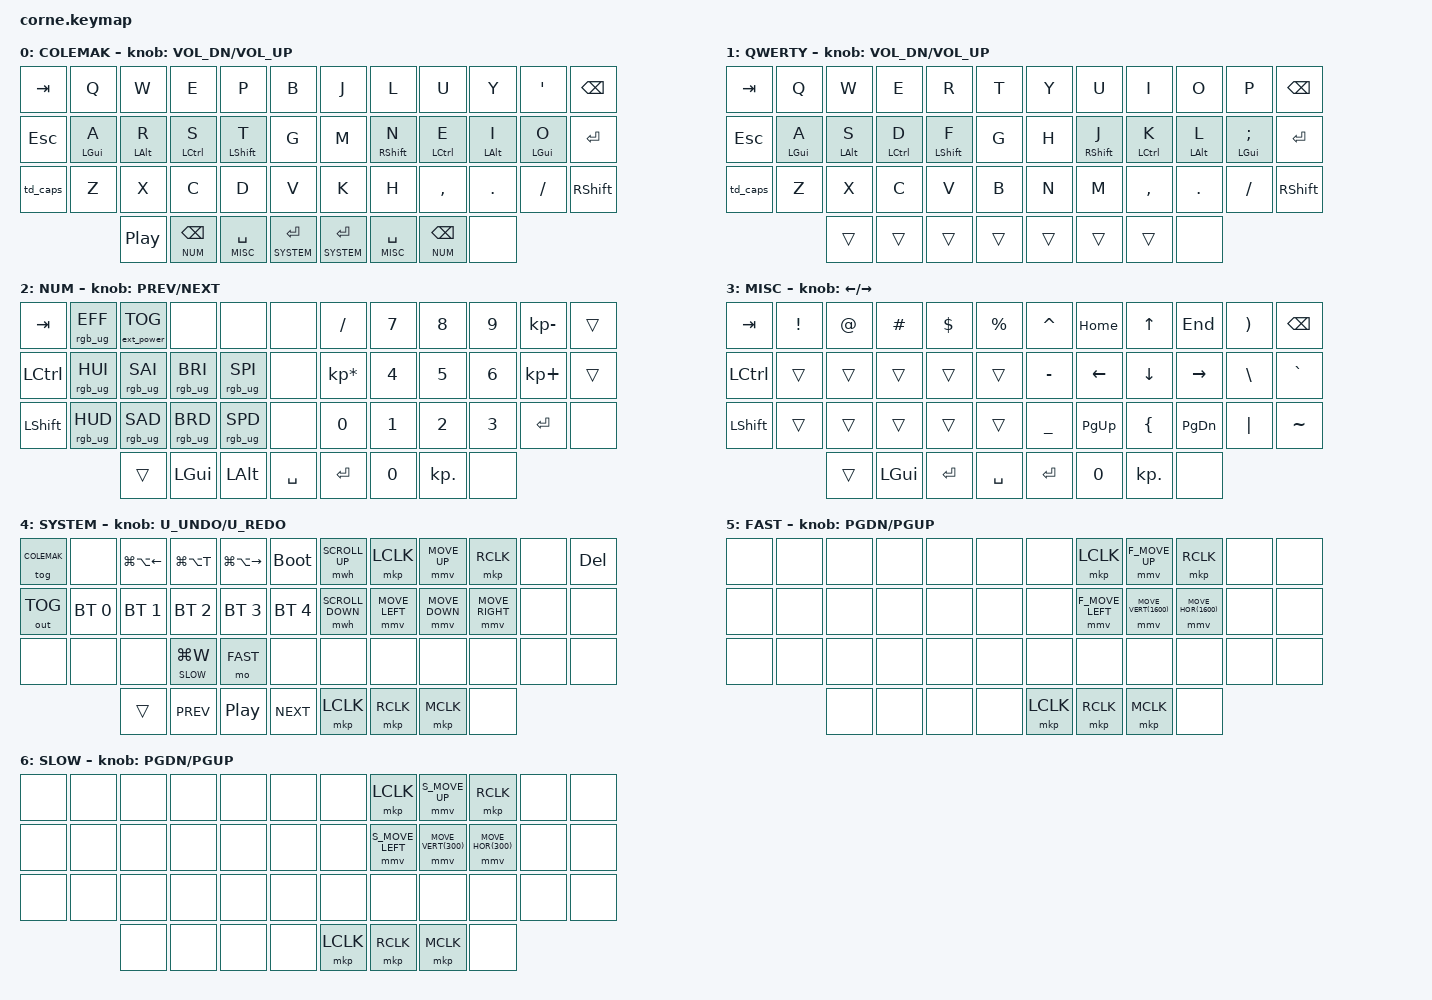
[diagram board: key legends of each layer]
/*
 * Copyright (c) 2020 The ZMK Contributors
 *
 * SPDX-License-Identifier: MIT
 */

#include <behaviors.dtsi>
#include <dt-bindings/zmk/keys.h>
#include <dt-bindings/zmk/bt.h>
#include <dt-bindings/led/led.h>
#include <dt-bindings/zmk/rgb.h>
#include <dt-bindings/zmk/ext_power.h>
#include <dt-bindings/zmk/outputs.h>
#include <dt-bindings/zmk/matrix_transform.h>
#include <dt-bindings/zmk/mouse.h>
// #include <dt-bindings/zmk/backlight.h>

#define QWERTY   0
#define COLEMAK  1
#define NUM      2
#define MISC     3
#define SYSTEM   4
#define FAST     5
#define SLOW     6

/*
 * Temporarily here because nice nano v2 spi is not defined on ZMk Yet
 * Source: https://github.com/zmkfirmware/zmk/blob/main/app/boards/shields/reviung41/boards/nice_nano.overlay
 * GitHub Issue: https://github.com/zmkfirmware/zmk/issues/885
 */

&spi1 {
    compatible = "nordic,nrf-spim";
    status = "okay";
    mosi-pin = <6>;
    // Unused pins, needed for SPI definition, but not used by the ws2812 driver itself.
    sck-pin = <5>;
    miso-pin = <7>;

    led_strip: ws2812@0 {
        compatible = "worldsemi,ws2812-spi";
        label = "WS2812";

        /* SPI */
        reg = <0>; /* ignored, but necessary for SPI bindings */
        spi-max-frequency = <4000000>;

        /* WS2812 */
        chain-length = <27>; /* arbitrary; change at will */
        spi-one-frame = <0x70>;
        spi-zero-frame = <0x40>;
        color-mapping = <LED_COLOR_ID_GREEN LED_COLOR_ID_RED LED_COLOR_ID_BLUE>;
    };
};

/ {
    chosen {
        zmk,underglow = &led_strip;
        zmk,matrix_transform = &default_transform;
    };

    default_transform: keymap_transform_0 {
        compatible = "zmk,matrix-transform";
        columns = <12>;
        rows = <4>;
        // | SW1  | SW2  | SW3  | SW4  | SW5  | SW6  |   | SW6  | SW5  | SW4  | SW3  | SW2  | SW1  |
        // | SW7  | SW8  | SW9  | SW10 | SW11 | SW12 |   | SW12 | SW11 | SW10 | SW9  | SW8  | SW7  |
        // | SW13 | SW14 | SW15 | SW16 | SW17 | SW18 |   | SW18 | SW17 | SW16 | SW15 | SW14 | SW13 |
        //                 SW19 | SW20 | SW21 | SW22 |   | SW21 | SW20 | SW19 | SW20
        map = <
            RC(0,0) RC(0,1) RC(0,2) RC(0,3) RC(0,4) RC(0,5)  RC(0,6) RC(0,7) RC(0,8) RC(0,9) RC(0,10) RC(0,11)
            RC(1,0) RC(1,1) RC(1,2) RC(1,3) RC(1,4) RC(1,5)  RC(1,6) RC(1,7) RC(1,8) RC(1,9) RC(1,10) RC(1,11)
            RC(2,0) RC(2,1) RC(2,2) RC(2,3) RC(2,4) RC(2,5)  RC(2,6) RC(2,7) RC(2,8) RC(2,9) RC(2,10) RC(2,11)
                            RC(3,2) RC(3,3) RC(3,4) RC(3,5)  RC(3,6) RC(3,7) RC(3,8) RC(3,9)
        >;
    };

    left_encoder: encoder_left {
        compatible = "alps,ec11";
        label = "LEFT_ENCODER";
        a-gpios = <&pro_micro_d  16 (GPIO_ACTIVE_HIGH | GPIO_PULL_UP)>;
        b-gpios = <&pro_micro_d 10 (GPIO_ACTIVE_HIGH | GPIO_PULL_UP)>;
        resolution = <4>;
        };

        sensors {
            compatible = "zmk,keymap-sensors";
            sensors = <&left_encoder>;
    };
};

&left_encoder {
    status = "okay";
};

/*
 * Temporarily here because nice nano v2 spi is not defined on ZMk YET
 */


&caps_word {
    continue-list = <UNDERSCORE MINUS>;
};


&lt {
    quick_tap_ms = <200>;
};


// Mouse key configs
&mmv {
    time-to-max-speed-ms = <50>;
};

&mwh {
    acceleration-exponent=<1>;
};

// MACROS
#define U_UNDO    LG(Z)
#define U_CUT     LG(X)
#define U_COPY    LG(C)
#define U_PSTE    LG(V)
#define U_REDO    LS(LG(Z))
#define U_CLIP    LC(LG(C))
#define U_SHOT    LS(LG(N4))
#define U_ALFRED  LG(SPACE)

#define PREV_TAB  LG(LA(LEFT))
#define NEW_TAB   LG(LA(T))
#define NEXT_TAB  LG(LA(RIGHT))
#define CLOSE_TAB LG(W)

/* Mouse move behavior */
#define MOVE_VERT(vert) ((vert)&0xFFFF)
#define MOVE_VERT_DECODE(encoded) (int16_t)((encoded)&0x0000FFFF)
#define MOVE_HOR(hor) (((hor)&0xFFFF) << 16)
#define MOVE_HOR_DECODE(encoded) (int16_t)(((encoded)&0xFFFF0000) >> 16)

#define MOVE(hor, vert) (MOVE_HOR(hor) + MOVE_VERT(vert))

#define F_MOVE_UP MOVE_VERT(-1600)
#define F_MOVE_DOWN MOVE_VERT(1600)
#define F_MOVE_LEFT MOVE_HOR(-1600)
#define F_MOVE_RIGHT MOVE_HOR(1600)

#define S_MOVE_UP MOVE_VERT(-300)
#define S_MOVE_DOWN MOVE_VERT(300)
#define S_MOVE_LEFT MOVE_HOR(-300)
#define S_MOVE_RIGHT MOVE_HOR(300)




// CONFIGURATION
#define COMBO(NAME, KEYPOS) \
    combo_##NAME { \
        layers = <0 1 2>; \
        timeout-ms = <40>; \
        key-positions = <KEYPOS>; \
        bindings = <&kp NAME>; \
    };

/ {
    combos {
        compatible = "zmk,combos";

        // special combo for capital words
        combo_caps { \
            timeout-ms = <40>; \
            key-positions = <24 35>; \
            bindings = <&caps_word>; \
        };

        //  ------------------------------------------------------------------------------------------
        //  |   0  |   1  |   2  |   3  |   4  |   5  |    |   6  |   7  |   8  |   9  |  10  |  11  |
        //  |  12  |  13  |  14  |  15  |  16  |  17  |    |  18  |  19  |  20  |  21  |  22  |  23  |
        //  |  24  |  25  |  26  |  27  |  28  |  29  |    |  30  |  31  |  32  |  33  |  34  |  35  |
        //                   36  |  37  |  38  |  39  |    |  40  |  41  |  42  |

        // Left-hand combos
        COMBO(AT_SIGN, 1 2)
        COMBO(LEFT_PARENTHESIS, 15 16)
        COMBO(LEFT_BRACE, 3 4)
        COMBO(LEFT_BRACKET, 27 28)
        COMBO(QUESTION, 2 3)
        COMBO(HASH, 2 12)
        COMBO(DOLLAR, 4 5)
        COMBO(TILDE, 10 11)
        COMBO(COLON, 6 7)
        COMBO(PERCENT, 11 21)
        COMBO(CARET, 12 22)
        COMBO(AMPERSAND, 13 23)
        //COMBO(GRAVE, 20 21)
        //COMBO(SEMICOLON, 21 22)
        // COMBO(U_COPY, 22 23)
        // COMBO(U_PASTE, 22 23)

        // Right-hand combos
        COMBO(RIGHT_PARENTHESIS, 19 20)
        COMBO(EXCLAMATION, 14 15)
        COMBO(RIGHT_BRACE, 7 8)
        COMBO(RIGHT_BRACKET, 31 32)
        COMBO(SINGLE_QUOTE, 15 20)
        COMBO(DOUBLE_QUOTES, 15 16 19 20)
        COMBO(U_ALFRED, 39 40)
        COMBO(EQUAL, 21 22)
        COMBO(PIPE, 20 21)
        COMBO(BACKSLASH, 8 18)
        COMBO(PLUS, 32 33)
        COMBO(MINUS, 8 9)
        COMBO(ASTERISK, 26 27)
        COMBO(LESS_THAN, 17 27)
        COMBO(GREATER_THAN, 18 28)
        //COMBO(UNDERSCORE, 27 28)
    };


    // conditional_layers {
    //     compatible = "zmk,conditional-layers";
    //     tri_layer {
    //         if-layers = <NUM MISC>;
    //         then-layer = <SYSTEM>;
    //     };
    // };

    behaviors {
        td_caps: tap_caps {
                 compatible = "zmk,behavior-tap-dance";
                 label = "Tap shift and caps";
                 #binding-cells = <0>;
                 tapping-term-ms = <200>;
                 bindings = <&kp LSHIFT>, <&caps_word>, <&kp CAPSLOCK>;
        };

        hm: homerow_mods {
            compatible = "zmk,behavior-hold-tap";
            label = "HOMEROW_MODS";
            #binding-cells = <2>;
            tapping-term-ms = <200>;
            quick_tap_ms = <200>;
            flavor = "tap-preferred";
            bindings = <&kp>, <&kp>;
        };
    };


    keymap {
        compatible = "zmk,keymap";

        colmak_layer {
            label = "COLEMAK";
            sensor-bindings = <&inc_dec_kp C_VOL_DN C_VOL_UP>;

            // -------------------------------------------------------------0--------------------
            // |  TAB  |  Q  | W  |  F   |  P  |  B  |   |  J  |  L  |  U   |  Y  |  '  | BKSP  |
            // |  ESC  |  A  | R  |  S   |  T  |  G  |   |  M  |  N  |  E   |  I  |  O  | RET   |
            // | SHIFT |  Z  | X  |  C   |  D  |  V  |   |  K  |  H  |  ,   |  .  |  /  | SHIFT |
            //               | PP | CTRL | SPC | RET |   | RET | SPC | BKSP |

            bindings = <
                &kp TAB      &kp Q         &kp W         &kp E            &kp P            &kp B                 &kp J             &kp L             &kp U             &kp Y         &kp SQT       &kp BSPC
                &kp ESC      &hm LGUI A    &hm LALT R    &hm LCTRL S      &hm LSHFT T      &kp G                 &kp M             &hm RSHIFT N      &hm LCTRL E       &hm LALT I    &hm LGUI O    &kp RET
                &td_caps     &kp Z         &kp X         &kp C            &kp D            &kp V                 &kp K             &kp H             &kp COMMA         &kp DOT       &kp FSLH      &kp RSHIFT
                                           &kp C_PP      &lt NUM BSPC     &lt MISC SPACE   &lt SYSTEM RET        &lt SYSTEM RET    &lt MISC SPACE    &lt NUM BSPC      &none
            >;
        };

        qwerty_layer {
            label = "QWERTY";
            sensor-bindings = <&inc_dec_kp C_VOL_DN C_VOL_UP>;

            // -----------------------------------------------------------------------------------
            // | TAB  |  Q  |  W  |  E   |  R  |  T  |   |  Y  |  U  |  I  |  O  |  P  | BKSP  |
            // | ESC  |  A  |  S  |  D   |  F  |  G  |   |  H  |  J  |  K  |  L  |  ;  | RET   |
            // | SHFT |  Z  |  X  |  C   |  V  |  B  |   |  N  |  M  |  ,  |  .  |  /  | SHIFT |
            //                    | CTRL | CMD | SPC |   | RET | SPC | ALT |

            bindings = <
                &kp TAB      &kp Q         &kp W         &kp E            &kp R          &kp T        &kp Y    &kp U           &kp I          &kp O         &kp P            &kp BSPC
                &kp ESC      &hm LGUI A    &hm LALT S    &hm LCTRL D      &hm LSHFT F    &kp G        &kp H    &hm RSHIFT J    &hm LCTRL K    &hm LALT L    &hm LGUI SEMI    &kp RET
                &td_caps     &kp Z         &kp X         &kp C            &kp V          &kp B        &kp N    &kp M           &kp COMMA      &kp DOT       &kp FSLH         &kp RSHIFT
                                           &trans        &trans           &trans         &trans       &trans   &trans          &trans         &none
            >;
        };

        num_layer {
            label = "NUM";
            sensor-bindings = <&inc_dec_kp C_PREV C_NEXT>;

            // -------------------------------------------------------------------------------
            // |      |     |     |     |     |     |   |  /  |  7  |  8  |  9  |  -  |      |
            // | CTRL |     |     |     |     |     |   |  *  |  4  |  5  |  6  |  +  |      |
            // | SHFT |     |     |     |     |     |   |  0  |  1  |  2  |  3  | RET |      |
            //                    | GUI |LALT | SPC |   | RET |  0  |  .  |

            bindings = <
                &kp TAB      &rgb_ug RGB_EFF    &ext_power EP_TOG    &none            &none                &none            &kp FSLH           &kp N7    &kp N8     &kp N9    &kp KP_MINUS    &trans
                &kp LCTRL    &rgb_ug RGB_HUI    &rgb_ug RGB_SAI      &rgb_ug RGB_BRI  &rgb_ug RGB_SPI      &none            &kp KP_ASTERISK    &kp N4    &kp N5     &kp N6    &kp KP_PLUS     &trans
                &kp LSHFT    &rgb_ug RGB_HUD    &rgb_ug RGB_SAD      &rgb_ug RGB_BRD  &rgb_ug RGB_SPD      &none            &kp N0             &kp N1    &kp N2     &kp N3    &kp RET         &none
                                                &trans               &kp LGUI         &kp LALT             &kp SPACE        &kp RET            &kp N0    &kp KP_DOT &none
            >;
        };

        misc_layer {
            label = "MISC";
            sensor-bindings = <&inc_dec_kp LEFT RIGHT>;

            // -----------------------------------------------------------------------------------------
            // |  TAB |  !  |  @  |  #  |  $  |  %  |   |  ^  |  HOME  |  UP    |  END    |  )  | BKSP |
            // | CTRL |     |     |     |     |     |   |  -  |  LEFT  |  DOWN  |  RIGHT  |  \  |  `   |
            // | SHFT |     |     |     |     |     |   |  _  |  PgUp  |  {     |  PgDown | "|" |  ~   |
            //                    | GUI |     | SPC |   | RET |        |  ALT   |

            bindings = <
                &kp  TAB     &kp EXCL    &kp AT    &kp HASH    &kp DLLR    &kp PRCNT        &kp CARET    &kp HOME       &kp UP      &kp END          &kp RPAR    &kp BSPC
                &kp LCTRL    &trans      &trans    &trans      &trans      &trans           &kp MINUS    &kp LEFT       &kp DOWN    &kp RIGHT        &kp BSLH    &kp GRAVE
                &kp LSHFT    &trans      &trans    &trans      &trans      &trans           &kp UNDER    &kp PAGE_UP    &kp LBRC    &kp PAGE_DOWN    &kp PIPE    &kp TILDE
                                         &trans    &kp LGUI    &kp RET     &kp SPACE        &kp RET      &kp N0         &kp KP_DOT  &none
            >;
        };

        system_layer {
            label = "SYSTEM";
            sensor-bindings = <&inc_dec_kp U_UNDO U_REDO>;

            // -----------------------------------------------------------------------------------------------------------------------------
            // |  COLEMAK/QWERTY |         |           |         |         |     |   |           |              |      |      |     | BKSP |
            // |      USB/BT     |  BT_MAC | BT_iPhone |  BT_PC  | BT_iPad | BT4 |   |           |              |      |      |     |      |
            // |                 |         |           |         |         |     |   |           |              |      |      |     |      |
            //                                         |         |         |     |   | Previous  |  Play/Pause  | Next |

            bindings = <
                &tog COLEMAK    &none           &kp PREV_TAB    &kp NEW_TAB             &kp NEXT_TAB    &bootloader         &mwh SCROLL_UP     &mkp LCLK         &mmv MOVE_UP      &mkp RCLK          &none     &kp DEL
                &out OUT_TOG    &bt BT_SEL 0    &bt BT_SEL 1    &bt BT_SEL 2            &bt BT_SEL 3    &bt BT_SEL 4        &mwh SCROLL_DOWN   &mmv MOVE_LEFT    &mmv MOVE_DOWN    &mmv MOVE_RIGHT    &none     &none
                &none           &none           &none           &lt SLOW CLOSE_TAB      &mo FAST        &none               &none              &none             &none             &none              &none     &none
                                                &trans          &kp C_PREV              &kp C_PP        &kp C_NEXT          &mkp LCLK          &mkp RCLK         &mkp MCLK         &none
            >;
        };
        fast_layer {
            label = "FAST";
            sensor-bindings = <&inc_dec_kp PGDN PGUP>;


            // -----------------------------------------------------------------------------------------------------------------------------
            // |     |     |     |     |     |     |      |                |                 |    Mouse up     |               |     |     |
            // |     |     |     |     |     |     |      |                |  Mouse left     |   Mouse down    |  Mouse right  |     |     |
            // |     |     |     |     |     |     |      |                |                 |                 |               |     |     |
            //             |     |     |     |     |      |  M click left  |  M click right  |  M click middle |

            bindings = <
                &none    &none    &none    &none    &none    &none        &none       &mkp LCLK           &mmv F_MOVE_UP      &mkp RCLK            &none     &none
                &none    &none    &none    &none    &none    &none        &none       &mmv F_MOVE_LEFT    &mmv F_MOVE_DOWN    &mmv F_MOVE_RIGHT    &none     &none
                &none    &none    &none    &none    &none    &none        &none       &none               &none               &none                &none     &none
                                           &none    &none    &none        &none       &mkp LCLK           &mkp RCLK           &mkp MCLK            &none
            >;
        };

        slow_layer {
            label = "SLOW";
            sensor-bindings = <&inc_dec_kp PGDN PGUP>;


            // -----------------------------------------------------------------------------------------------------------------------------
            // |     |     |     |     |     |     |      |                |                 |    Mouse up     |               |     |     |
            // |     |     |     |     |     |     |      |                |  Mouse left     |   Mouse down    |  Mouse right  |     |     |
            // |     |     |     |     |     |     |      |                |                 |                 |               |     |     |
            //             |     |     |     |     |      |  M click left  |  M click right  |  M click middle |

            bindings = <
                &none    &none    &none    &none    &none    &none        &none       &mkp LCLK           &mmv S_MOVE_UP      &mkp RCLK            &none     &none
                &none    &none    &none    &none    &none    &none        &none       &mmv S_MOVE_LEFT    &mmv S_MOVE_DOWN    &mmv S_MOVE_RIGHT    &none     &none
                &none    &none    &none    &none    &none    &none        &none       &none               &none               &none                &none     &none
                                           &none    &none    &none        &none       &mkp LCLK           &mkp RCLK           &mkp MCLK           &none
            >;
        };
    };
};
